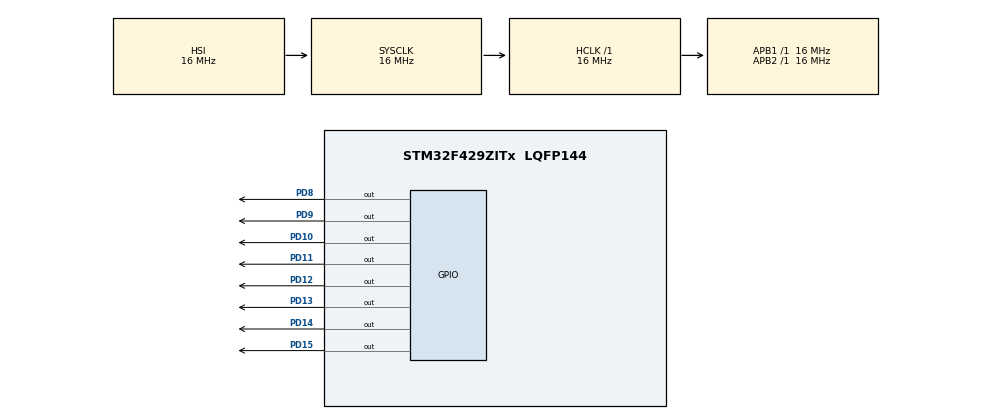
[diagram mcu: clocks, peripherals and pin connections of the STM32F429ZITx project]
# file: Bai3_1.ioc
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Mcu.Family=STM32F4
Mcu.Name=STM32F429ZITx
Mcu.Package=LQFP144
NVIC.PriorityGroup=NVIC_PRIORITYGROUP_4
PD10.Signal=GPIO_Output
PD11.Signal=GPIO_Output
PD12.Signal=GPIO_Output
PD13.Signal=GPIO_Output
PD14.Signal=GPIO_Output
PD15.Signal=GPIO_Output
PD8.Signal=GPIO_Output
PD9.Signal=GPIO_Output
ProjectManager.HeapSize=0x200
ProjectManager.StackSize=0x400
ProjectManager.TargetToolchain=STM32CubeIDE
RCC.AHBFreq_Value=16000000
RCC.APB1Freq_Value=16000000
RCC.APB2Freq_Value=16000000
RCC.CortexFreq_Value=16000000
RCC.HSE_VALUE=25000000
RCC.HSI_VALUE=16000000
RCC.LSE_VALUE=32768
RCC.SYSCLKFreq_VALUE=16000000
RCC.VCOOutputFreq_Value=192000000
board=custom

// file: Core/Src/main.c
/* USER CODE BEGIN Header */
/**
  ******************************************************************************
  * @file           : main.c
  * @brief          : Main program body
  ******************************************************************************
  * @attention
  *
  * Copyright (c) 2025 STMicroelectronics.
  * All rights reserved.
  *
  * This software is licensed under terms that can be found in the LICENSE file
  * in the root directory of this software component.
  * If no LICENSE file comes with this software, it is provided AS-IS.
  *
  ******************************************************************************
  */
/* USER CODE END Header */
#include "main.h"

/* USER CODE BEGIN Includes */
unsigned char LED_Value = 0x01;
unsigned int timerCount = 0;
/* USER CODE END Includes */

/* USER CODE BEGIN PV */
void mode1()
{
  LED_Value = (LED_Value >> 1) | (LED_Value << 7);
  if (LED_Value & 0x01)
  {
    HAL_GPIO_WritePin(GPIOD, GPIO_PIN_15, GPIO_PIN_SET);
  }
  else
  {
    HAL_GPIO_WritePin(GPIOD, GPIO_PIN_15, GPIO_PIN_RESET);
  }
  if (LED_Value & 0x02)
  {
    HAL_GPIO_WritePin(GPIOD, GPIO_PIN_14, GPIO_PIN_SET);
  }
  else
  {
    HAL_GPIO_WritePin(GPIOD, GPIO_PIN_14, GPIO_PIN_RESET);
  }
  if (LED_Value & 0x04)
  {
    HAL_GPIO_WritePin(GPIOD, GPIO_PIN_13, GPIO_PIN_SET);
  }
  else
  {
    HAL_GPIO_WritePin(GPIOD, GPIO_PIN_13, GPIO_PIN_RESET);
  }
  if (LED_Value & 0x08)
  {
    HAL_GPIO_WritePin(GPIOD, GPIO_PIN_12, GPIO_PIN_SET);
  }
  else
  {
    HAL_GPIO_WritePin(GPIOD, GPIO_PIN_12, GPIO_PIN_RESET);
  }
  if (LED_Value & 0x10)
  {
    HAL_GPIO_WritePin(GPIOD, GPIO_PIN_11, GPIO_PIN_SET);
  }
  else
  {
    HAL_GPIO_WritePin(GPIOD, GPIO_PIN_11, GPIO_PIN_RESET);
  }
  if (LED_Value & 0x20)
  {
    HAL_GPIO_WritePin(GPIOD, GPIO_PIN_10, GPIO_PIN_SET);
  }
  else
  {
    HAL_GPIO_WritePin(GPIOD, GPIO_PIN_10, GPIO_PIN_RESET);
  }
  if (LED_Value & 0x40)
  {
    HAL_GPIO_WritePin(GPIOD, GPIO_PIN_9, GPIO_PIN_SET);
  }
  else
  {
    HAL_GPIO_WritePin(GPIOD, GPIO_PIN_9, GPIO_PIN_RESET);
  }
  if (LED_Value & 0x80)
  {
    HAL_GPIO_WritePin(GPIOD, GPIO_PIN_8, GPIO_PIN_SET);
  }
  else
  {
    HAL_GPIO_WritePin(GPIOD, GPIO_PIN_8, GPIO_PIN_RESET);
  }
}

void mode2()
{
  LED_Value = (LED_Value >> 1) | (LED_Value << 7);
  if (LED_Value & 0x80)
  {
    HAL_GPIO_WritePin(GPIOD, GPIO_PIN_8, GPIO_PIN_SET);
  }
  else
  {
    HAL_GPIO_WritePin(GPIOD, GPIO_PIN_8, GPIO_PIN_RESET);
  }
  if (LED_Value & 0x40)
  {
    HAL_GPIO_WritePin(GPIOD, GPIO_PIN_9, GPIO_PIN_SET);
  }
  else
  {
    HAL_GPIO_WritePin(GPIOD, GPIO_PIN_9, GPIO_PIN_RESET);
  }
  if (LED_Value & 0x20)
  {
    HAL_GPIO_WritePin(GPIOD, GPIO_PIN_10, GPIO_PIN_SET);
  }
  else
  {
    HAL_GPIO_WritePin(GPIOD, GPIO_PIN_10, GPIO_PIN_RESET);
  }
  if (LED_Value & 0x10)
  {
    HAL_GPIO_WritePin(GPIOD, GPIO_PIN_11, GPIO_PIN_SET);
  }
  else
  {
    HAL_GPIO_WritePin(GPIOD, GPIO_PIN_11, GPIO_PIN_RESET);
  }
  if (LED_Value & 0x08)
  {
    HAL_GPIO_WritePin(GPIOD, GPIO_PIN_12, GPIO_PIN_SET);
  }
  else
  {
    HAL_GPIO_WritePin(GPIOD, GPIO_PIN_12, GPIO_PIN_RESET);
  }
  if (LED_Value & 0x04)
  {
    HAL_GPIO_WritePin(GPIOD, GPIO_PIN_13, GPIO_PIN_SET);
  }
  else
  {
    HAL_GPIO_WritePin(GPIOD, GPIO_PIN_13, GPIO_PIN_RESET);
  }
  if (LED_Value & 0x02)
  {
    HAL_GPIO_WritePin(GPIOD, GPIO_PIN_14, GPIO_PIN_SET);
  }
  else
  {
    HAL_GPIO_WritePin(GPIOD, GPIO_PIN_14, GPIO_PIN_RESET);
  }
  if (LED_Value & 0x01)
  {
    HAL_GPIO_WritePin(GPIOD, GPIO_PIN_15, GPIO_PIN_SET);
  }
  else
  {
    HAL_GPIO_WritePin(GPIOD, GPIO_PIN_15, GPIO_PIN_RESET);
  }
}

void mode3()
{

  HAL_GPIO_WritePin(GPIOD, GPIO_PIN_8 | GPIO_PIN_9 | GPIO_PIN_10 | GPIO_PIN_11 | GPIO_PIN_12 | GPIO_PIN_13 | GPIO_PIN_14 | GPIO_PIN_15, GPIO_PIN_SET);
  HAL_Delay(500);
  HAL_GPIO_WritePin(GPIOD, GPIO_PIN_8 | GPIO_PIN_9 | GPIO_PIN_10 | GPIO_PIN_11 | GPIO_PIN_12 | GPIO_PIN_13 | GPIO_PIN_14 | GPIO_PIN_15, GPIO_PIN_RESET);
  HAL_Delay(500);
}

void mode4()
{
  LED_Value = (LED_Value << 1) | (LED_Value >> 3);
  if (LED_Value & 0x08)
  {
    HAL_GPIO_WritePin(GPIOD, GPIO_PIN_11 | GPIO_PIN_12, GPIO_PIN_SET);
  }
  else
  {
    HAL_GPIO_WritePin(GPIOD, GPIO_PIN_11 | GPIO_PIN_12, GPIO_PIN_RESET);
  }
  if (LED_Value & 0x04)
  {
    HAL_GPIO_WritePin(GPIOD, GPIO_PIN_10 | GPIO_PIN_13, GPIO_PIN_SET);
  }
  else
  {
    HAL_GPIO_WritePin(GPIOD, GPIO_PIN_10 | GPIO_PIN_13, GPIO_PIN_RESET);
  }
  if (LED_Value & 0x02)
  {
    HAL_GPIO_WritePin(GPIOD, GPIO_PIN_9 | GPIO_PIN_14, GPIO_PIN_SET);
  }
  else
  {
    HAL_GPIO_WritePin(GPIOD, GPIO_PIN_9 | GPIO_PIN_14, GPIO_PIN_RESET);
  }
  if (LED_Value & 0x01)
  {
    HAL_GPIO_WritePin(GPIOD, GPIO_PIN_8 | GPIO_PIN_15, GPIO_PIN_SET);
  }
  else
  {
    HAL_GPIO_WritePin(GPIOD, GPIO_PIN_8 | GPIO_PIN_15, GPIO_PIN_RESET);
  }
}

/* USER CODE END PV */

void SystemClock_Config(void);
static void MX_GPIO_Init(void);

int main(void)
{

  /* USER CODE BEGIN 1 */
	timerCount = HAL_GetTick();
  /* USER CODE END 1 */
  /* MCU Configuration--------------------------------------------------------*/

  /* Reset of all peripherals, Initializes the Flash interface and the Systick. */
  HAL_Init();

  /* Configure the system clock */
  SystemClock_Config();

  /* Initialize all configured peripherals */
  MX_GPIO_Init();

  /* Infinite loop */
  while (1)
  {
	  if(timerCount + 500 < HAL_GetTick()) {
		  mode1();
		  timerCount = HAL_GetTick();
	  }
  }
}

void SystemClock_Config(void)
{
  RCC_OscInitTypeDef RCC_OscInitStruct = {0};
  RCC_ClkInitTypeDef RCC_ClkInitStruct = {0};

  /** Configure the main internal regulator output voltage
  */
  __HAL_RCC_PWR_CLK_ENABLE();
  __HAL_PWR_VOLTAGESCALING_CONFIG(PWR_REGULATOR_VOLTAGE_SCALE3);

  /** Initializes the RCC Oscillators according to the specified parameters
  * in the RCC_OscInitTypeDef structure.
  */
  RCC_OscInitStruct.OscillatorType = RCC_OSCILLATORTYPE_HSI;
  RCC_OscInitStruct.HSIState = RCC_HSI_ON;
  RCC_OscInitStruct.HSICalibrationValue = RCC_HSICALIBRATION_DEFAULT;
  RCC_OscInitStruct.PLL.PLLState = RCC_PLL_NONE;
  if (HAL_RCC_OscConfig(&RCC_OscInitStruct) != HAL_OK)
  {
    Error_Handler();
  }

  /** Initializes the CPU, AHB and APB buses clocks
  */
  RCC_ClkInitStruct.ClockType = RCC_CLOCKTYPE_HCLK|RCC_CLOCKTYPE_SYSCLK
                              |RCC_CLOCKTYPE_PCLK1|RCC_CLOCKTYPE_PCLK2;
  RCC_ClkInitStruct.SYSCLKSource = RCC_SYSCLKSOURCE_HSI;
  RCC_ClkInitStruct.AHBCLKDivider = RCC_SYSCLK_DIV1;
  RCC_ClkInitStruct.APB1CLKDivider = RCC_HCLK_DIV1;
  RCC_ClkInitStruct.APB2CLKDivider = RCC_HCLK_DIV1;

  if (HAL_RCC_ClockConfig(&RCC_ClkInitStruct, FLASH_LATENCY_0) != HAL_OK)
  {
    Error_Handler();
  }
}

static void MX_GPIO_Init(void)
{
  GPIO_InitTypeDef GPIO_InitStruct = {0};

  /* GPIO Ports Clock Enable */
  __HAL_RCC_GPIOD_CLK_ENABLE();

  /*Configure GPIO pin Output Level */
  HAL_GPIO_WritePin(GPIOD, GPIO_PIN_8|GPIO_PIN_9|GPIO_PIN_10|GPIO_PIN_11
                          |GPIO_PIN_12|GPIO_PIN_13|GPIO_PIN_14|GPIO_PIN_15, GPIO_PIN_RESET);

  /*Configure GPIO pins : PD8 PD9 PD10 PD11
                           PD12 PD13 PD14 PD15 */
  GPIO_InitStruct.Pin = GPIO_PIN_8|GPIO_PIN_9|GPIO_PIN_10|GPIO_PIN_11
                          |GPIO_PIN_12|GPIO_PIN_13|GPIO_PIN_14|GPIO_PIN_15;
  GPIO_InitStruct.Mode = GPIO_MODE_OUTPUT_PP;
  GPIO_InitStruct.Pull = GPIO_NOPULL;
  GPIO_InitStruct.Speed = GPIO_SPEED_FREQ_LOW;
  HAL_GPIO_Init(GPIOD, &GPIO_InitStruct);

}

void Error_Handler(void)
{
  __disable_irq();
  while (1)
  {
  }
}
